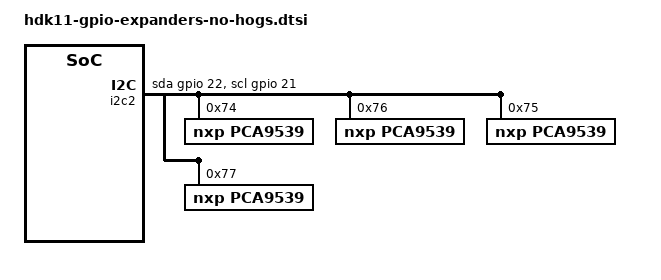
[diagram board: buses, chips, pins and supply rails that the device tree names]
#include <dt-bindings/gpio/gpio.h>

&i2c2 {
	pinctrl-names = "default", "gpio";
	pinctrl-0 = <&i2c2_pins>;
	pinctrl-1 = <&i2c2_gpio_pins>;
	scl-gpios = <&gpio 21 (GPIO_ACTIVE_HIGH | GPIO_OPEN_DRAIN)>;
	sda-gpios = <&gpio 22 (GPIO_ACTIVE_HIGH | GPIO_OPEN_DRAIN)>;
	status = "okay";
	/* GPIO expanders */
	pca9539@74 {
		compatible = "nxp,pca9539";
		reg = <0x74>;
		pinctrl-names = "default";
		gpio-controller;
		#gpio-cells = <0x02>;
	};

	pca9539@76 {
		compatible = "nxp,pca9539";
		reg = <0x76>;
		gpio-controller;
		#gpio-cells = <0x02>;
		pinctrl-names = "default";
	};

	pca9539@75 {
		compatible = "nxp,pca9539";
		reg = <0x75>;
		pinctrl-names = "default";
		gpio-controller;
		#gpio-cells = <0x02>;
	};

	pca9539@77 {
		compatible = "nxp,pca9539";
		reg = <0x77>;
		pinctrl-names = "default";
		gpio-controller;
		#gpio-cells = <0x02>;
	};
};
